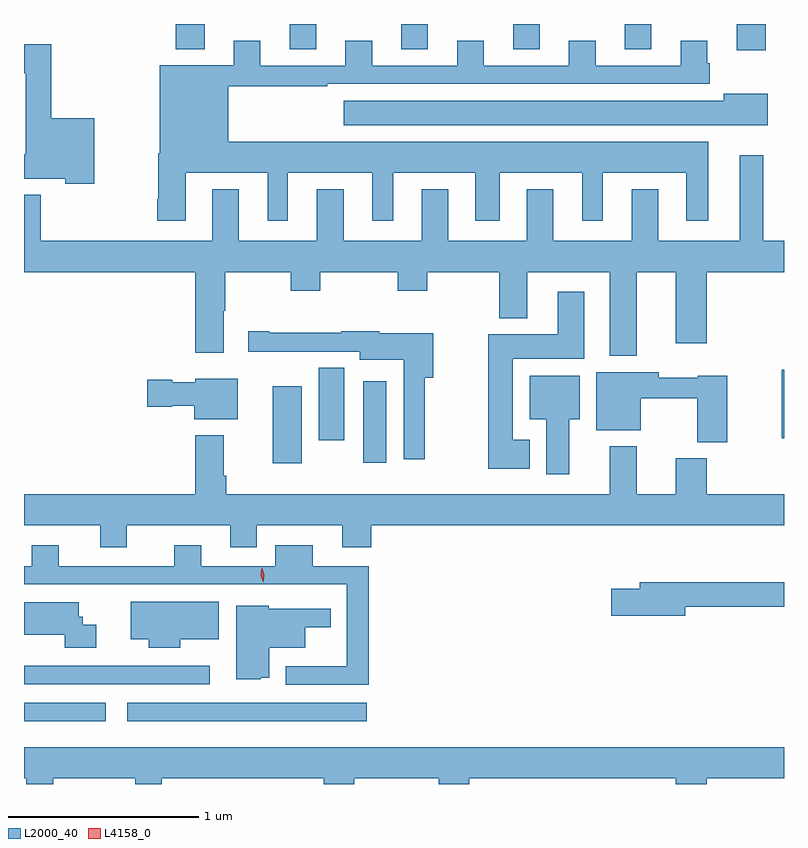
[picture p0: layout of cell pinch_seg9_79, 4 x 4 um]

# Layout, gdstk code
import gdstk
lib = gdstk.Library(unit=1e-6, precision=1e-09)
def R(c, l, rs):  # rectangles x0, y0, x1, y1
    for r in rs: c.add(gdstk.rectangle(r[:2], r[2:], *l))
def A(c, l, x, y, w, h, nx, ny, dx, dy):  # array of equal rectangles
    R(c, l, [(x+i*dx, y+j*dy, x+i*dx+w, y+j*dy+h) for i in range(nx) for j in range(ny)])
def P(c, l, *ps):  # polygons
    for p in ps: c.add(gdstk.Polygon(p, *l))
L2000_40 = (2000, 40)
L4158_0 = (4158, 0)

pinch_seg9_79 = lib.new_cell('pinch_seg9_79')
A(pinch_seg9_79, L2000_40, 1038.101, 1192.264, 0.14, 0.134, 4, 1, 0.588, 0)
R(pinch_seg9_79, L2000_40, [(1036.703,1188.728,1037.134,1188.825), (1037.247,1188.728,1038.507,1188.825), (1036.703,1188.924,1037.68,1189.02), (1038.011,1190.085,1038.166,1190.491), (1038.488,1190.088,1038.61,1190.518), (1038.254,1190.208,1038.388,1190.588), (1040.69,1190.218,1040.703,1190.578), (1040.453,1192.26,1040.606,1192.398), (1037.501,1192.265,1037.653,1192.398)])
P(pinch_seg9_79, L2000_40, [(1037.554,1191.614),(1037.987,1191.614),(1037.987,1191.363),(1038.091,1191.363),(1038.091,1191.614),(1038.536,1191.614),(1038.536,1191.363),(1038.646,1191.363),(1038.646,1191.614),(1039.079,1191.614),(1039.079,1191.363),(1039.207,1191.363),(1039.207,1191.614),(1039.64,1191.614),(1039.64,1191.363),(1039.75,1191.363),(1039.75,1191.614),(1040.189,1191.614),(1040.189,1191.363),(1040.305,1191.363),(1040.305,1191.778),(1037.779,1191.778),(1037.779,1192.071),(1038.299,1192.071),(1038.299,1192.083),(1040.312,1192.083),(1040.312,1192.191),(1040.299,1192.191),(1040.299,1192.309),(1040.159,1192.309),(1040.159,1192.179),(1039.711,1192.179),(1039.711,1192.309),(1039.571,1192.309),(1039.571,1192.179),(1039.123,1192.179),(1039.123,1192.309),(1038.983,1192.309),(1038.983,1192.179),(1038.535,1192.179),(1038.535,1192.309),(1038.395,1192.309),(1038.395,1192.179),(1037.947,1192.179),(1037.947,1192.309),(1037.807,1192.309),(1037.807,1192.18),(1037.417,1192.18),(1037.417,1191.718),(1037.41,1191.718),(1037.41,1191.475),(1037.405,1191.475),(1037.405,1191.363),(1037.554,1191.363)],
  [(1037.074,1191.901),(1036.847,1191.901),(1036.847,1192.291),(1036.703,1192.291),(1036.703,1192.139),(1036.712,1192.139),(1036.712,1191.712),(1036.703,1191.712),(1036.703,1191.584),(1036.92,1191.584),(1036.92,1191.557),(1037.074,1191.557)],
  [(1040.617,1192.03),(1040.387,1192.03),(1040.387,1191.994),(1038.387,1191.994),(1038.387,1191.866),(1040.617,1191.866)],
  [(1039.927,1191.092),(1040.132,1191.092),(1040.132,1190.718),(1040.296,1190.718),(1040.296,1191.092),(1040.703,1191.092),(1040.703,1191.256),(1040.593,1191.256),(1040.593,1191.706),(1040.471,1191.706),(1040.471,1191.256),(1040.041,1191.256),(1040.041,1191.529),(1039.901,1191.529),(1039.901,1191.256),(1039.489,1191.256),(1039.489,1191.529),(1039.349,1191.529),(1039.349,1191.256),(1038.937,1191.256),(1038.937,1191.529),(1038.797,1191.529),(1038.797,1191.256),(1038.385,1191.256),(1038.385,1191.529),(1038.245,1191.529),(1038.245,1191.256),(1037.833,1191.256),(1037.833,1191.529),(1037.693,1191.529),(1037.693,1191.256),(1036.79,1191.256),(1036.79,1191.499),(1036.703,1191.499),(1036.703,1191.092),(1037.603,1191.092),(1037.603,1190.667),(1037.755,1190.667),(1037.755,1190.888),(1037.763,1190.888),(1037.763,1191.092),(1038.106,1191.092),(1038.106,1190.993),(1038.261,1190.993),(1038.261,1191.092),(1038.67,1191.092),(1038.67,1190.993),(1038.825,1190.993),(1038.825,1191.092),(1039.204,1191.092),(1039.204,1190.849),(1039.351,1190.849),(1039.351,1191.092),(1039.787,1191.092),(1039.787,1190.651),(1039.927,1190.651)],
  [(1039.366,1190.209),(1039.276,1190.209),(1039.276,1190.636),(1039.651,1190.636),(1039.651,1190.989),(1039.511,1190.989),(1039.511,1190.764),(1039.147,1190.764),(1039.147,1190.057),(1039.366,1190.057)],
  [(1038.811,1190.537),(1038.858,1190.537),(1038.858,1190.77),(1038.574,1190.77),(1038.574,1190.782),(1038.374,1190.782),(1038.374,1190.772),(1037.995,1190.772),(1037.995,1190.782),(1037.882,1190.782),(1037.882,1190.672),(1038.158,1190.672),(1038.158,1190.673),(1038.47,1190.673),(1038.47,1190.63),(1038.702,1190.63),(1038.702,1190.106),(1038.811,1190.106)],
  [(1040.404,1190.548),(1040.25,1190.548),(1040.25,1190.537),(1040.044,1190.537),(1040.044,1190.566),(1039.715,1190.566),(1039.715,1190.261),(1039.948,1190.261),(1039.948,1190.427),(1040.246,1190.427),(1040.246,1190.197),(1040.404,1190.197)],
  [(1039.573,1190.318),(1039.627,1190.318),(1039.627,1190.548),(1039.364,1190.548),(1039.364,1190.318),(1039.451,1190.318),(1039.451,1190.028),(1039.573,1190.028)],
  [(1037.827,1190.53),(1037.604,1190.53),(1037.604,1190.512),(1037.484,1190.512),(1037.484,1190.525),(1037.352,1190.525),(1037.352,1190.383),(1037.484,1190.383),(1037.484,1190.39),(1037.6,1190.39),(1037.6,1190.318),(1037.827,1190.318)],
  [(1037.245,1189.76),(1037.789,1189.76),(1037.789,1189.643),(1037.929,1189.643),(1037.929,1189.76),(1038.377,1189.76),(1038.377,1189.643),(1038.53,1189.643),(1038.53,1189.76),(1040.703,1189.76),(1040.703,1189.924),(1040.296,1189.924),(1040.296,1190.112),(1040.132,1190.112),(1040.132,1189.924),(1039.927,1189.924),(1039.927,1190.176),(1039.787,1190.176),(1039.787,1189.924),(1037.768,1189.924),(1037.768,1190.02),(1037.755,1190.02),(1037.755,1190.233),(1037.603,1190.233),(1037.603,1189.924),(1036.703,1189.924),(1036.703,1189.76),(1037.105,1189.76),(1037.105,1189.643),(1037.245,1189.643)],
  [(1038.518,1189.545),(1038.223,1189.545),(1038.223,1189.654),(1038.026,1189.654),(1038.026,1189.545),(1037.635,1189.545),(1037.635,1189.654),(1037.495,1189.654),(1037.495,1189.545),(1036.885,1189.545),(1036.885,1189.654),(1036.745,1189.654),(1036.745,1189.545),(1036.703,1189.545),(1036.703,1189.449),(1038.402,1189.449),(1038.402,1189.019),(1038.401,1189.019),(1038.401,1189.017),(1038.08,1189.017),(1038.08,1188.921),(1038.518,1188.921)],
  [(1040.182,1189.33),(1040.703,1189.33),(1040.703,1189.459),(1039.943,1189.459),(1039.943,1189.425),(1039.794,1189.425),(1039.794,1189.283),(1040.182,1189.283)],
  [(1037.526,1189.16),(1037.728,1189.16),(1037.728,1189.357),(1037.264,1189.357),(1037.264,1189.16),(1037.36,1189.16),(1037.36,1189.115),(1037.526,1189.115)],
  [(1037.083,1189.237),(1037.013,1189.237),(1037.013,1189.278),(1036.99,1189.278),(1036.99,1189.354),(1036.703,1189.354),(1036.703,1189.184),(1036.917,1189.184),(1036.917,1189.115),(1037.083,1189.115)],
  [(1037.949,1188.956),(1037.995,1188.956),(1037.995,1189.115),(1038.184,1189.115),(1038.184,1189.223),(1038.317,1189.223),(1038.317,1189.32),(1037.991,1189.32),(1037.991,1189.336),(1037.819,1189.336),(1037.819,1188.95),(1037.949,1188.95)],
  [(1036.858,1188.428),(1037.288,1188.428),(1037.288,1188.398),(1037.428,1188.398),(1037.428,1188.428),(1038.281,1188.428),(1038.281,1188.398),(1038.441,1188.398),(1038.441,1188.428),(1038.886,1188.428),(1038.886,1188.398),(1039.046,1188.398),(1039.046,1188.428),(1040.132,1188.428),(1040.132,1188.398),(1040.296,1188.398),(1040.296,1188.428),(1040.703,1188.428),(1040.703,1188.592),(1036.703,1188.592),(1036.703,1188.428),(1036.715,1188.428),(1036.715,1188.398),(1036.858,1188.398)])
P(pinch_seg9_79, L4158_0, [(1037.961,1189.461),(1037.961,1189.461),(1037.948,1189.496),(1037.955,1189.533),(1037.956,1189.533),(1037.956,1189.533),(1037.968,1189.497),(1037.961,1189.461)])

lib.write_gds('pinch_seg9_79.gds')
